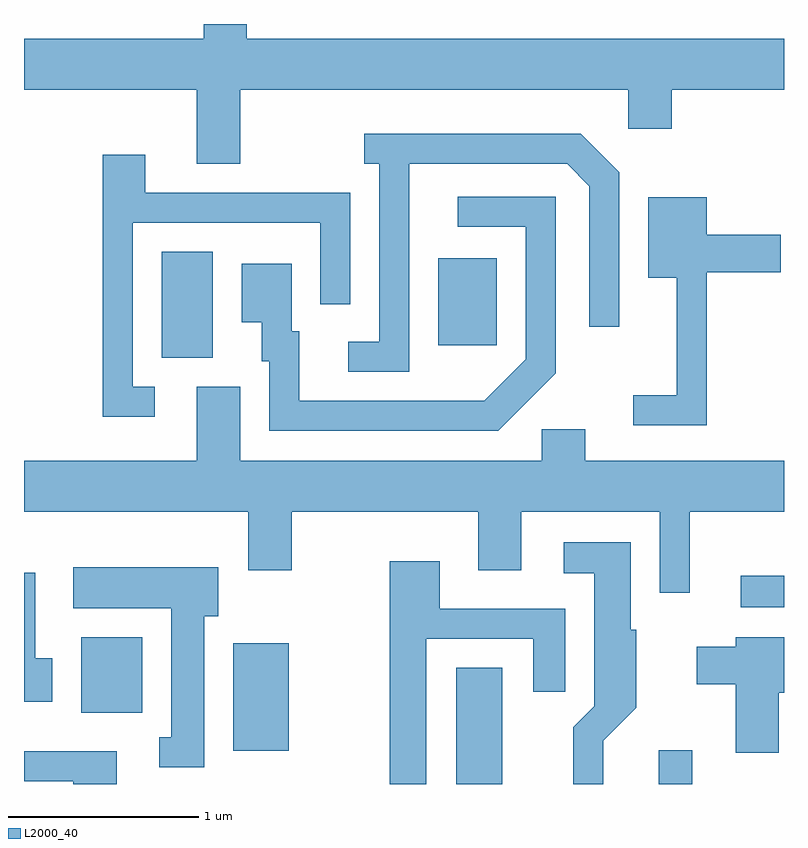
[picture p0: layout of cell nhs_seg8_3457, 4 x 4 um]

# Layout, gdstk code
import gdstk
lib = gdstk.Library(unit=1e-6, precision=1e-09)
def R(c, l, rs):  # rectangles x0, y0, x1, y1
    for r in rs: c.add(gdstk.rectangle(r[:2], r[2:], *l))
def P(c, l, *ps):  # polygons
    for p in ps: c.add(gdstk.Polygon(p, *l))
L2000_40 = (2000, 40)

nhs_seg8_3457 = lib.new_cell('nhs_seg8_3457')
R(nhs_seg8_3457, L2000_40, [(291.886,1808.342,292.129,1808.954), (292.951,1808.342,293.129,1808.519), (290.711,1808.516,291.004,1809.084), (289.911,1808.716,290.234,1809.114), (293.383,1809.271,293.611,1809.439), (290.336,1810.586,290.604,1811.144), (291.791,1810.651,292.099,1811.109)])
P(nhs_seg8_3457, L2000_40, [(290.749,1811.996),(292.791,1811.996),(292.791,1811.791),(293.019,1811.791),(293.019,1811.996),(293.611,1811.996),(293.611,1812.264),(290.784,1812.264),(290.784,1812.342),(290.556,1812.342),(290.556,1812.264),(289.611,1812.264),(289.611,1811.996),(290.521,1811.996),(290.521,1811.606),(290.749,1811.606)],
  [(291.639,1811.606),(292.469,1811.606),(292.586,1811.489),(292.586,1810.748),(292.744,1810.748),(292.744,1811.562),(292.542,1811.764),(291.403,1811.764),(291.403,1811.606),(291.481,1811.606),(291.481,1810.669),(291.318,1810.669),(291.318,1810.511),(291.639,1810.511)],
  [(290.298,1810.434),(290.184,1810.434),(290.184,1811.296),(291.171,1811.296),(291.171,1810.868),(291.329,1810.868),(291.329,1811.454),(290.249,1811.454),(290.249,1811.654),(290.026,1811.654),(290.026,1810.276),(290.298,1810.276)],
  [(292.409,1810.504),(292.409,1811.434),(291.893,1811.434),(291.893,1811.276),(292.251,1811.276),(292.251,1810.577),(292.034,1810.359),(291.059,1810.359),(291.059,1810.724),(291.019,1810.724),(291.019,1811.079),(290.756,1811.079),(290.756,1810.771),(290.861,1810.771),(290.861,1810.566),(290.901,1810.566),(290.901,1810.201),(292.107,1810.201)],
  [(293.204,1811.036),(293.594,1811.036),(293.594,1811.234),(293.204,1811.234),(293.204,1811.429),(292.896,1811.429),(292.896,1811.006),(293.046,1811.006),(293.046,1810.389),(292.818,1810.389),(292.818,1810.231),(293.204,1810.231)],
  [(293.114,1809.776),(293.611,1809.776),(293.611,1810.044),(292.564,1810.044),(292.564,1810.209),(292.336,1810.209),(292.336,1810.044),(290.749,1810.044),(290.749,1810.434),(290.521,1810.434),(290.521,1810.044),(289.611,1810.044),(289.611,1809.776),(290.791,1809.776),(290.791,1809.466),(291.019,1809.466),(291.019,1809.776),(292.001,1809.776),(292.001,1809.466),(292.229,1809.466),(292.229,1809.776),(292.956,1809.776),(292.956,1809.348),(293.114,1809.348)],
  [(292.659,1808.569),(292.834,1808.744),(292.834,1809.154),(292.804,1809.154),(292.804,1809.614),(292.453,1809.614),(292.453,1809.451),(292.611,1809.451),(292.611,1808.752),(292.501,1808.642),(292.501,1808.342),(292.659,1808.342)],
  [(291.729,1809.106),(292.291,1809.106),(292.291,1808.828),(292.459,1808.828),(292.459,1809.264),(291.799,1809.264),(291.799,1809.514),(291.536,1809.514),(291.536,1808.342),(291.729,1808.342)],
  [(290.559,1809.226),(290.634,1809.226),(290.634,1809.484),(289.871,1809.484),(289.871,1809.266),(290.386,1809.266),(290.386,1808.589),(290.323,1808.589),(290.323,1808.431),(290.559,1808.431)],
  [(289.759,1809.004),(289.669,1809.004),(289.669,1809.454),(289.611,1809.454),(289.611,1808.776),(289.759,1808.776)],
  [(293.584,1808.821),(293.611,1808.821),(293.611,1809.114),(293.356,1809.114),(293.356,1809.064),(293.151,1809.064),(293.151,1808.866),(293.356,1808.866),(293.356,1808.506),(293.584,1808.506)],
  [(290.099,1808.514),(289.611,1808.514),(289.611,1808.356),(289.871,1808.356),(289.871,1808.342),(290.099,1808.342)])

lib.write_gds('nhs_seg8_3457.gds')
